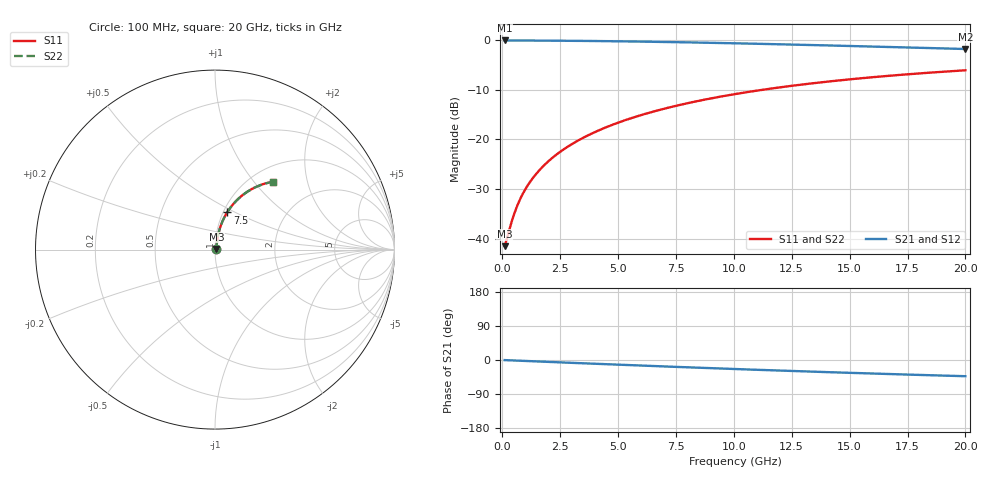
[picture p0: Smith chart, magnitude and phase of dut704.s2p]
! Touchstone file exported from HFSS 2024.1.0
!  File:  C:/UserFiles/LocalFiles/RDL_TSV_Batchsim/temp_RDL_top_704_1779849960.aedt
!  Generated:  10:48:19 AM May 27, 2026
!  Design:  RDL_top
!  Project:  temp_RDL_top_704_1779849960
!  Setup:  Setup1
!  Solution:  Sweep
! Variables:
!  dtsv = 10.80580581um
!  hbump = 3um
!  htsv = 76.42um
!  ldown = 100um
!  lrdl = 523.75um
!  p = 40
!  p1 = 47.94um
!  rhole = 1um
!  t = 450um
!  tdown = 3.915915916um
!  trdl = 2.12um
!  wdown = 15.38538539um
!  wrdl = 11.23um
# GHz S MA R 50.000000
! Terminal data exported
! Port[1] = Box2_T1
! Port[2] = Box2_T2
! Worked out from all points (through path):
!   200 points, 100 MHz to 20 GHz, reference 50 ohm
!   highest |S21| = -0.07 dB at 100 MHz (marker M1); lowest = -1.8 dB at 20 GHz (marker M2)
!   group delay of S21, straight-line fit = 5.96 ps
!   lowest |S11| = -41.5 dB at 100 MHz (marker M3), VSWR 1.02, Z = 50.8 + j0.313 ohm
!   |S11| at or under -10 dB: start of sweep to 11.24 GHz
!   |S22| runs from -41.5 to -6.1 dB; largest |S21 - S12| = 2.9e-15
!   S11 on the Smith chart (normalised r, x): 100 MHz: 1.02, +0.01; 7.5 GHz: 1.04, +0.45; 20 GHz: 1.25, +1.26
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0.1  0.008431 21.4  0.9922 -0.3  0.9922 -0.3  0.008431 21.4
! Gamma 0 0 0 0
! Port Impedance 50 0 50 0
0.2  0.01003 37.9  0.9921 -0.5  0.9921 -0.5  0.01003 37.9
0.4  0.01474 56.3  0.9919 -1.0  0.9919 -1.0  0.01474 56.3
0.5  0.01743 61.3  0.9917 -1.3  0.9917 -1.3  0.01743 61.3
0.7  0.02304 67.5  0.9913 -1.8  0.9913 -1.8  0.02304 67.5
1  0.03165 72.2  0.9907 -2.5  0.9907 -2.5  0.03165 72.2
1.3  0.04031 74.7  0.99 -3.3  0.99 -3.3  0.04031 74.7
1.7  0.05189 76.5  0.9889 -4.3  0.9889 -4.3  0.05189 76.5
2.2  0.0664 77.5  0.9873 -5.5  0.9873 -5.5  0.06639 77.5
2.8  0.08383 77.9  0.9851 -7.0  0.9851 -7.0  0.08383 77.9
3.5  0.1042 77.6  0.9819 -8.7  0.9819 -8.7  0.1042 77.6
4.2  0.1245 77.0  0.9782 -10.4  0.9782 -10.4  0.1244 77.0
5  0.1475 76.0  0.9733 -12.3  0.9733 -12.3  0.1475 76.0
5.9  0.1732 74.7  0.9669 -14.5  0.9669 -14.5  0.1732 74.6
6.8  0.1986 73.2  0.9598 -16.6  0.9598 -16.6  0.1986 73.1
7.5  0.2181 71.9  0.9538 -18.2  0.9538 -18.2  0.218 71.9
8.7  0.2507 69.8  0.9427 -20.9  0.9427 -20.9  0.2506 69.7
10.1  0.2875 67.1  0.9286 -23.9  0.9286 -23.9  0.2874 67.1
11.7  0.3276 64.1  0.9112 -27.3  0.9112 -27.3  0.3275 64.1
13.4  0.3676 61.0  0.8919 -30.8  0.8919 -30.8  0.3675 60.9
16.7  0.4374 55.0  0.8529 -37.0  0.8529 -37.0  0.4372 55.0
20  0.4969 49.5  0.8139 -42.8  0.8139 -42.8  0.4966 49.5
